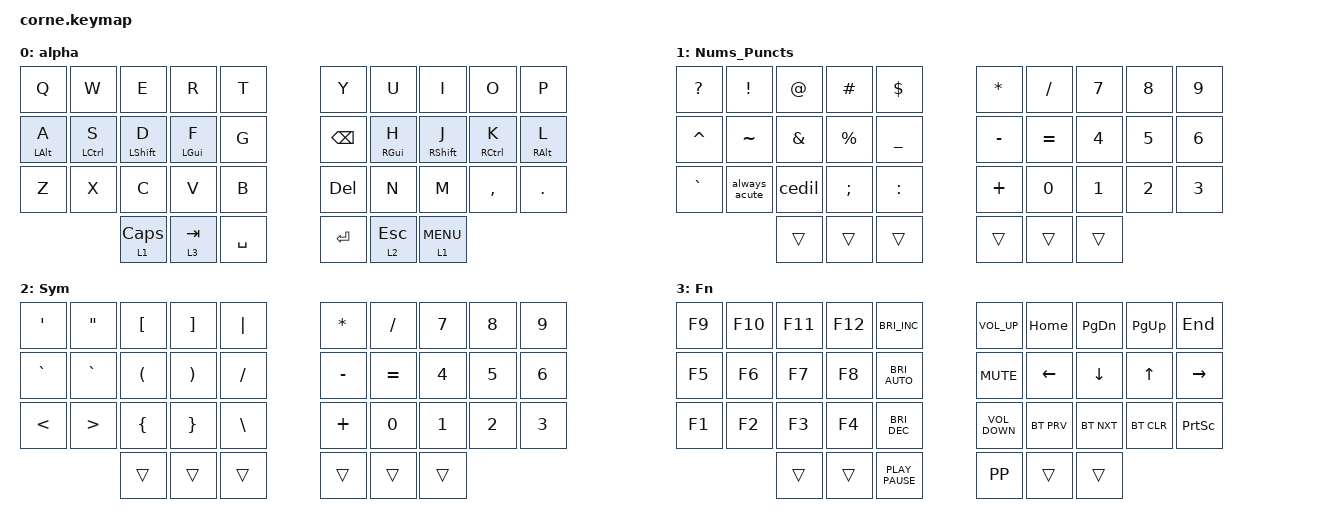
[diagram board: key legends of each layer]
/*
 * Copyright (c) 2020 The ZMK Contributors
 *
 * SPDX-License-Identifier: MIT
 */

#include <behaviors.dtsi>
#include <dt-bindings/zmk/bt.h>
#include <dt-bindings/zmk/keys.h>

#define DEFAULT_L 0

&lt {
    quick-tap-ms = <200>;
    tapping-term-ms = <200>;
};

/ {
    chosen { zmk,matrix_transform = &five_column_transform; };

    behaviors {
        hm: homerow_mods {
            compatible = "zmk,behavior-hold-tap";
            label = "HOMEROW_MODS";
            #binding-cells = <2>;
            tapping-term-ms = <150>;
            flavor = "tap-preferred";
            bindings = <&kp>, <&kp>;

            quick-tap-ms = <200>;
        };

        vim_i: vim_i {
            compatible = "zmk,behavior-mod-morph";
            label = "VIM_I";
            bindings = <&to 0>, <&vim_I>;

            #binding-cells = <0>;
            mods = <(MOD_LSFT|MOD_RSFT)>;
        };

        vim_o: vim_o {
            compatible = "zmk,behavior-mod-morph";
            label = "VIM_O";
            bindings = <&next_line_enter>, <&previous_line_enter>;

            #binding-cells = <0>;
            mods = <(MOD_LSFT|MOD_RSFT)>;
        };

        vim_c_r: vim_c_r {
            compatible = "zmk,behavior-mod-morph";
            label = "VIM_C_R";
            #binding-cells = <0>;
            bindings = <&none>, <&kp LG(LS(Z))>;

            mods = <(MOD_LCTL|MOD_RCTL)>;
        };

        vim_backspace: vim_backspace {
            compatible = "zmk,behavior-mod-morph";
            label = "VIM_BACKSPACE";
            bindings = <&kp LA(BACKSPACE)>, <&kp LA(DELETE)>;

            #binding-cells = <0>;
            mods = <(MOD_LALT|MOD_RALT)>;
        };

        slashandbackslash: slashandbackslash {
            compatible = "zmk,behavior-mod-morph";
            label = "SLASHANDBACKSLASH";
            bindings = <&kp SLASH>, <&kp BACKSLASH>;

            #binding-cells = <0>;
            mods = <(MOD_LALT|MOD_RALT)>;
        };

        quote: quote {
            compatible = "zmk,behavior-mod-morph";
            label = "QUOTE";
            bindings = <&kp SINGLE_QUOTE>, <&kp GRAVE>;

            #binding-cells = <0>;
            mods = <(MOD_LALT|MOD_RALT)>;
        };

        coma_semi: coma_semi {
            compatible = "zmk,behavior-mod-morph";
            label = "COMA_SEMI";
            bindings = <&kp COMMA>, <&kp SEMI>;

            #binding-cells = <0>;
            mods = <(MOD_LALT|MOD_RALT)>;
            keep-mods = <(MOD_LSFT|MOD_RSFT)>;
        };

        dot_colon: dot_colon {
            compatible = "zmk,behavior-mod-morph";
            label = "DOT_COLON";
            bindings = <&kp PERIOD>, <&kp COLON>, <&kp LA(COLON)>;

            #binding-cells = <0>;
            mods = <(MOD_LALT|MOD_RALT)>;
            keep-mods = <(MOD_LSFT|MOD_RSFT)>;
        };

        q_grave: q_grave {
            compatible = "zmk,behavior-mod-morph";
            label = "Q_GRAVE";
            bindings = <&kp Q>, <&kp GRAVE>;

            #binding-cells = <0>;
            mods = <(MOD_LALT|MOD_RALT)>;
        };

        home: home {
            compatible = "zmk,behavior-mod-morph";
            label = "HOME";
            bindings = <&kp LG(LEFT)>, <&kp HOME>;

            #binding-cells = <0>;
            mods = <(MOD_LSFT|MOD_RSFT)>;
        };

        end: end {
            compatible = "zmk,behavior-mod-morph";
            label = "END";
            bindings = <&kp LG(RIGHT)>, <&kp END>;

            #binding-cells = <0>;
            mods = <(MOD_LSFT|MOD_RALT)>;
        };

        quote_grave: quote_grave {
            compatible = "zmk,behavior-mod-morph";
            label = "QUOTE_GRAVE";
            bindings = <&kp SINGLE_QUOTE>, <&kp GRAVE>;

            #binding-cells = <0>;
            mods = <(MOD_LALT|MOD_RALT)>;
        };

        hm_quotes: hm_quotes {
            compatible = "zmk,behavior-hold-tap";
            label = "HM_QUOTES";
            bindings = <&kp>, <&quote_grave>;

            #binding-cells = <2>;
            tapping-term-ms = <200>;
            quick-tap-ms = <200>;
            flavor = "tap-preferred";
        };

        dot_comma: dot_comma {
            compatible = "zmk,behavior-mod-morph";
            label = "DOT_COMMA";
            bindings = <&kp DOT>, <&kp COMMA>;

            #binding-cells = <0>;
            mods = <(MOD_LSFT|MOD_RSFT)>;
        };

        multiply: multiply {
            compatible = "zmk,behavior-mod-morph";
            label = "MULTIPLY";
            bindings = <&kp ASTERISK>, <&kp LEFT_BRACE>;

            #binding-cells = <0>;
            mods = <(MOD_LSFT|MOD_RSFT)>;
        };

        divide: divide {
            compatible = "zmk,behavior-mod-morph";
            label = "divide";
            bindings = <&kp SLASH>, <&kp LEFT_PARENTHESIS>;

            #binding-cells = <0>;
            mods = <(MOD_LSFT|MOD_RSFT)>;
        };

        num_7: num_7 {
            compatible = "zmk,behavior-mod-morph";
            label = "num_7";
            bindings = <&kp N7>, <&kp RIGHT_BRACE>;

            #binding-cells = <0>;
            mods = <(MOD_LSFT|MOD_RSFT)>;
        };

        equals_thic_arrow: equals_thic_arrow {
            compatible = "zmk,behavior-mod-morph";
            label = "EQUALS_THIC_ARROW";
            bindings = <&kp EQUAL>, <&thic_arrow>;

            #binding-cells = <0>;
            mods = <(MOD_LSFT|MOD_RSFT)>;
        };

        num_0: num_0 {
            compatible = "zmk,behavior-mod-morph";
            label = "NUM_0";
            #binding-cells = <0>;
            mods = <(MOD_LSFT|MOD_RSFT)>;
            bindings = <&kp N0>, <&kp LEFT_BRACKET>;
        };

        num_1: num_1 {
            compatible = "zmk,behavior-mod-morph";
            label = "NUM_1";
            #binding-cells = <0>;
            mods = <(MOD_LSFT|MOD_RSFT)>;
            bindings = <&kp N1>, <&kp RIGHT_BRACKET>;
        };

        num_2: num_2 {
            compatible = "zmk,behavior-mod-morph";
            label = "NUM_2";
            #binding-cells = <0>;
            mods = <(MOD_LSFT|MOD_RSFT)>;
            bindings = <&kp N2>, <&kp COMMA>;
        };

        num_3: num_3 {
            compatible = "zmk,behavior-mod-morph";
            label = "NUM_3";
            #binding-cells = <0>;
            mods = <(MOD_LSFT|MOD_RSFT)>;
            bindings = <&kp N3>, <&kp DOT>;
        };

        num_5: num_5 {
            compatible = "zmk,behavior-mod-morph";
            label = "NUM_5";
            #binding-cells = <0>;
            mods = <(MOD_LSFT)>;
            bindings = <&hm RIGHT_GUI N5>, <&kp LT>;
        };

        num_6: num_6 {
            compatible = "zmk,behavior-mod-morph";
            label = "NUM_6";
            #binding-cells = <0>;
            mods = <(MOD_LSFT)>;
            bindings = <&hm RIGHT_ALT NUMBER_6>, <&kp GT>;
        };

        hm_quote_minus: hm_quote_minus {
            compatible = "zmk,behavior-mod-morph";
            label = "HM_QUOTE_MINUS";
            #binding-cells = <0>;
            mods = <(MOD_LSFT)>;
            bindings = <&hm RCTRL MINUS>, <&kp DOUBLE_QUOTES>;
        };

        num_4: num_4 {
            compatible = "zmk,behavior-mod-morph";
            label = "NUM_4";
            bindings = <&hm RIGHT_SHIFT N4>, <&kp RIGHT_PARENTHESIS>;

            #binding-cells = <0>;
            mods = <(MOD_LSFT)>;
        };

        always_tilde: always_tilde {
            compatible = "zmk,behavior-mod-morph";
            label = "ALWAYS_TILDE";
            bindings = <&kp LA(N)>, <&kp LA(N)>;

            #binding-cells = <0>;
            mods = <(MOD_LSFT|MOD_RSFT)>;
        };

        num_8: num_8 {
            compatible = "zmk,behavior-mod-morph";
            label = "NUM_8";
            bindings = <&kp N8>, <&kp LA(LS(NUMBER_2))>;

            #binding-cells = <0>;
            mods = <(MOD_LSFT|MOD_RSFT)>;
        };

        w_euro: w_euro {
            compatible = "zmk,behavior-mod-morph";
            label = "W_EURO";
            bindings = <&kp W>, <&kp LS(LA(NUMBER_2))>;

            #binding-cells = <0>;
            mods = <(MOD_LALT|MOD_RALT)>;
        };

        a_grave_ctrl: a_grave_ctrl {
            compatible = "zmk,behavior-mod-morph";
            label = "A_GRAVE_CTRL";
            bindings = <&hm LCTRL A>, <&kp A>;

            #binding-cells = <0>;
            mods = <(MOD_LALT|MOD_RALT)>;
        };

        always_grave: always_grave {
            compatible = "zmk,behavior-mod-morph";
            label = "ALWAYS_GRAVE";
            bindings = <&kp GRAVE>, <&kp GRAVE>;

            #binding-cells = <0>;
            mods = <(MOD_LSFT|MOD_RSFT)>;
        };

        always_acute: always_acute {
            compatible = "zmk,behavior-mod-morph";
            label = "ALWAYS_ACUTE";
            bindings = <&kp LA(E)>, <&kp LA(E)>;

            #binding-cells = <0>;
            mods = <(MOD_LALT|MOD_LSFT|MOD_RSFT)>;
        };

        always_circ: always_circ {
            compatible = "zmk,behavior-mod-morph";
            label = "ALWAYS_CIRC";
            bindings = <&kp LA(I)>, <&kp LA(I)>;

            #binding-cells = <0>;
            mods = <(MOD_LSFT|MOD_RSFT)>;
        };

        cmd_num_4: cmd_num_4 {
            compatible = "zmk,behavior-mod-morph";
            label = "CMD_NUM_4";
            bindings = <&num_4>, <&kp NUMBER_4>;

            #binding-cells = <0>;
            mods = <(MOD_LGUI|MOD_RGUI)>;
            keep-mods = <(MOD_RGUI|MOD_LGUI)>;
        };

        cmd_num_5: cmd_num_5 {
            compatible = "zmk,behavior-mod-morph";
            label = "CMD_NUM_5";
            bindings = <&num_5>, <&kp N5>;

            #binding-cells = <0>;
            mods = <(MOD_LGUI|MOD_RGUI)>;
            keep-mods = <(MOD_RGUI|MOD_LGUI)>;
        };

        cmd_num_1: cmd_num_1 {
            compatible = "zmk,behavior-mod-morph";
            label = "CMD_NUM_1";
            bindings = <&num_1>, <&kp NUMBER_1>;

            #binding-cells = <0>;
            mods = <(MOD_LGUI|MOD_RGUI)>;
            keep-mods = <(MOD_RGUI|MOD_LGUI)>;
        };

        cmd_num_3: cmd_num_3 {
            compatible = "zmk,behavior-mod-morph";
            label = "CMD_NUM_3";
            bindings = <&num_3>, <&kp NUMBER_3>;

            #binding-cells = <0>;
            mods = <(MOD_LGUI|MOD_RGUI)>;
            keep-mods = <(MOD_RGUI|MOD_LGUI)>;
        };

        cmd_num_2: cmd_num_2 {
            compatible = "zmk,behavior-mod-morph";
            label = "CMD_NUM_2";
            bindings = <&num_2>, <&kp NUMBER_2>;

            #binding-cells = <0>;
            mods = <(MOD_LGUI|MOD_RGUI)>;
            keep-mods = <(MOD_RGUI|MOD_LGUI)>;
        };

        cmd_num_6: cmd_num_6 {
            compatible = "zmk,behavior-mod-morph";
            label = "CMD_NUM_6";
            bindings = <&num_6>, <&kp NUMBER_6>;

            #binding-cells = <0>;
            mods = <(MOD_LGUI|MOD_RGUI)>;
            keep-mods = <(MOD_RGUI|MOD_LGUI)>;
        };

        cmd_num_7: cmd_num_7 {
            compatible = "zmk,behavior-mod-morph";
            label = "CMD_NUM_7";
            bindings = <&num_7>, <&kp N7>;

            #binding-cells = <0>;
            mods = <(MOD_LGUI|MOD_RGUI)>;
            keep-mods = <(MOD_RGUI|MOD_LGUI)>;
        };

        cmd_num_8: cmd_num_8 {
            compatible = "zmk,behavior-mod-morph";
            label = "CMD_NUM_8";
            bindings = <&num_8>, <&kp N8>;

            #binding-cells = <0>;
            mods = <(MOD_LGUI|MOD_RGUI)>;
            keep-mods = <(MOD_RGUI|MOD_LGUI)>;
        };

        cmd_w_euro: cmd_w_euro {
            compatible = "zmk,behavior-mod-morph";
            label = "CMD_W_EURO";
            bindings = <&w_euro>, <&kp W>;

            #binding-cells = <0>;
            mods = <(MOD_LGUI|MOD_RGUI|MOD_LCTL|MOD_LSFT|MOD_RCTL|MOD_RSFT)>;
            keep-mods = <(MOD_LCTL|MOD_LSFT|MOD_LALT|MOD_LGUI|MOD_RALT|MOD_RGUI|MOD_RSFT|MOD_RCTL)>;
        };

        shift_tap: shift_tap {
            compatible = "zmk,behavior-hold-tap";
            label = "SHIFT_TAP";
            bindings = <&kp>, <&kp>;

            #binding-cells = <2>;
            tapping-term-ms = <150>;
            flavor = "tap-preferred";
            quick-tap-ms = <200>;
        };

        plus_gte: plus_gte {
            compatible = "zmk,behavior-mod-morph";
            label = "PLUS_GTE";
            bindings = <&kp PLUS>, <&gte>;

            #binding-cells = <0>;
            mods = <(MOD_LSFT|MOD_RSFT)>;
        };

        minus_lte: minus_lte {
            compatible = "zmk,behavior-mod-morph";
            label = "MINUS_LTE";
            bindings = <&kp MINUS>, <&lte>;

            #binding-cells = <0>;
            mods = <(MOD_LSFT|MOD_RSFT)>;
        };

        p_question: p_question {
            compatible = "zmk,behavior-mod-morph";
            label = "P_QUESTION";
            bindings = <&kp P>, <&kp QUESTION>;

            #binding-cells = <0>;
            mods = <(MOD_LALT|MOD_RALT)>;
        };

        switch_layout: switch_layout {
            compatible = "zmk,behavior-tap-dance";
            label = "SWITCH_LAYOUT";
            #binding-cells = <0>;
            bindings = <&to 0>, <&to 0>;
        };
    };

    macros {
        aacute: aacute {
            compatible = "zmk,behavior-macro";
            label = "AACUTE";
            #binding-cells = <0>;
            bindings = <&always_acute &kp A>;
        };

        eacute: eacute {
            compatible = "zmk,behavior-macro";
            label = "EACUTE";
            #binding-cells = <0>;
            bindings = <&always_acute &kp E>;
        };

        iacute: iacute {
            compatible = "zmk,behavior-macro";
            label = "IACUTE";
            #binding-cells = <0>;
            bindings = <&always_acute &kp I>;
        };

        oacute: oacute {
            compatible = "zmk,behavior-macro";
            label = "OACUTE";
            #binding-cells = <0>;
            bindings = <&always_acute &kp O>;
        };

        uacute: uacute {
            compatible = "zmk,behavior-macro";
            label = "UACUTE";
            #binding-cells = <0>;
            bindings = <&always_acute &kp U>;
        };

        acirc: acirc {
            compatible = "zmk,behavior-macro";
            label = "ACIRC";
            #binding-cells = <0>;
            bindings = <&always_circ &kp A>;
        };

        ecirc: ecirc {
            compatible = "zmk,behavior-macro";
            label = "ECIRC";
            #binding-cells = <0>;
            bindings = <&always_circ &kp E>;
        };

        icirc: icirc {
            compatible = "zmk,behavior-macro";
            label = "ICIRC";
            #binding-cells = <0>;
            bindings = <&always_circ &kp I>;
        };

        ocirc: ocirc {
            compatible = "zmk,behavior-macro";
            label = "OCIRC";
            #binding-cells = <0>;
            bindings = <&always_circ &kp O>;
        };

        ucirc: ucirc {
            compatible = "zmk,behavior-macro";
            label = "UCIRC";
            #binding-cells = <0>;
            bindings = <&always_circ &kp U>;
        };

        atilde: atilde {
            compatible = "zmk,behavior-macro";
            label = "ATILDE";
            #binding-cells = <0>;
            bindings = <&always_tilde &kp A>;
        };

        otilde: otilde {
            compatible = "zmk,behavior-macro";
            label = "OTILDE";
            #binding-cells = <0>;
            bindings = <&always_tilde &kp O>;
        };

        ao: ao {
            compatible = "zmk,behavior-macro";
            label = "AO";
            #binding-cells = <0>;
            bindings = <&always_tilde &kp A &kp O>;
        };

        oes: oes {
            compatible = "zmk,behavior-macro";
            label = "OES";
            #binding-cells = <0>;
            bindings = <&always_tilde &kp O &kp E &kp S>;
        };

        vim_word: vim_word {
            compatible = "zmk,behavior-macro";
            label = "VIM_WORD";
            #binding-cells = <0>;
            bindings = <&kp LA(RIGHT) &kp LA(RIGHT) &kp LA(LEFT)>;
        };

        previous_line_enter: previous_line_enter {
            compatible = "zmk,behavior-macro";
            label = "PREVIOUS_LINE_ENTER";
            #binding-cells = <0>;
            bindings = <&kp LG(LEFT) &kp LS(ENTER) &kp LEFT>;
        };

        vim_I: vim_I {
            compatible = "zmk,behavior-macro";
            label = "VIM_I";
            #binding-cells = <0>;
            bindings = <&kp LG(LEFT_ARROW) &to 0>;
        };

        aes: aes {
            compatible = "zmk,behavior-macro";
            label = "AES";
            #binding-cells = <0>;
            bindings = <&always_tilde &kp A &kp E &kp S>;
        };

        esc_0: esc_0 {
            compatible = "zmk,behavior-macro";
            label = "ESC_0";
            #binding-cells = <0>;
            bindings = <&to 0 &kp ESCAPE>;
        };

        next_line_enter: next_line_enter {
            compatible = "zmk,behavior-macro";
            label = "NEXT_LINE_ENTER";
            #binding-cells = <0>;
            bindings = <&kp LG(RIGHT) &kp ENTER>;
        };

        thic_arrow: thic_arrow {
            compatible = "zmk,behavior-macro";
            #binding-cells = <0>;
            bindings = <&kp EQUAL &kp GT>;
            label = "THIC_ARROW";
        };

        thin_arrow: thin_arrow {
            compatible = "zmk,behavior-macro";
            #binding-cells = <0>;
            bindings = <&kp MINUS &kp GT>;
            label = "THIN_ARROW";
        };

        agrave: agrave {
            compatible = "zmk,behavior-macro";
            #binding-cells = <0>;
            bindings = <&always_grave &kp A>;
            label = "AGRAVE";
        };

        gte: gte {
            compatible = "zmk,behavior-macro";
            #binding-cells = <0>;
            bindings = <&kp GT &kp EQUAL>;
            label = "GTE";
        };

        lte: lte {
            compatible = "zmk,behavior-macro";
            #binding-cells = <0>;
            bindings = <&kp LT &kp EQUAL>;
            label = "LTE";
        };

        cedil: cedil {
            compatible = "zmk,behavior-macro";
            #binding-cells = <0>;
            bindings = <&always_acute &kp C>;
            label = "CEDIL";
        };
    };

    combos {
        compatible = "zmk,combos";

        RESET {
            bindings = <&esc_0>;
            key-positions = <12 17>;
        };

        toggle_shift {
            bindings = <&caps_word>;
            key-positions = <13 16>;
        };

        RESET_w {
            bindings = <&esc_0>;
            key-positions = <14 15>;
        };

        collon_l {
            bindings = <&kp COLON>;
            key-positions = <12 28>;
        };

        collon_r {
            bindings = <&kp COLON>;
            key-positions = <17 28>;
        };

        semicollon_l {
            bindings = <&kp SEMICOLON>;
            key-positions = <12 29>;
        };

        semicollon_r {
            bindings = <&kp SEMICOLON>;
            key-positions = <17 29>;
        };
    };

    keymap {
        compatible = "zmk,keymap";

        alpha {
            bindings = <
  &kp Q           &kp W               &kp E             &kp R           &kp T        &kp Y          &kp U            &kp I              &kp O                &kp P
  &mt LEFT_ALT A  &mt LEFT_CONTROL S  &mt LEFT_SHIFT D  &mt LEFT_GUI F  &kp G        &kp BACKSPACE  &mt RIGHT_GUI H  &mt RIGHT_SHIFT J  &mt RIGHT_CONTROL K  &mt RIGHT_ALT L
  &kp Z           &kp X               &kp C             &kp V           &kp B        &kp DELETE     &kp N            &kp M              &kp COMMA            &kp PERIOD
                                      &lt 1 CAPSLOCK    &lt 3 TAB       &kp SPACE    &kp ENTER      &lt 2 ESCAPE     &lt 1 C_MENU
            >;
        };

        Nums_Puncts {
            bindings = <
  &kp QUESTION  &kp EXCLAMATION  &kp AT_SIGN    &kp HASH       &kp DOLLAR        &kp ASTERISK  &kp SLASH     &kp NUMBER_7  &kp NUMBER_8  &kp NUMBER_9
  &kp CARET     &kp TILDE        &kp AMPERSAND  &kp PERCENT    &kp UNDERSCORE    &kp MINUS     &kp EQUAL     &kp NUMBER_4  &kp NUMBER_5  &kp NUMBER_6
  &kp GRAVE     &always_acute    &cedil         &kp SEMICOLON  &kp COLON         &kp PLUS      &kp NUMBER_0  &kp NUMBER_1  &kp NUMBER_2  &kp NUMBER_3
                                 &trans         &trans         &trans            &trans        &trans        &trans
            >;
        };

        Sym {
            bindings = <
  &kp SINGLE_QUOTE  &kp DOUBLE_QUOTES  &kp LEFT_BRACKET      &kp RIGHT_BRACKET      &kp PIPE         &kp ASTERISK  &kp SLASH     &kp NUMBER_7  &kp NUMBER_8  &kp NUMBER_9
  &kp GRAVE         &kp GRAVE          &kp LEFT_PARENTHESIS  &kp RIGHT_PARENTHESIS  &kp SLASH        &kp MINUS     &kp EQUAL     &kp NUMBER_4  &kp NUMBER_5  &kp NUMBER_6
  &kp LESS_THAN     &kp GREATER_THAN   &kp LEFT_BRACE        &kp RIGHT_BRACE        &kp BACKSLASH    &kp PLUS      &kp NUMBER_0  &kp NUMBER_1  &kp NUMBER_2  &kp NUMBER_3
                                       &trans                &trans                 &trans           &trans        &trans        &trans
            >;
        };

        Fn {
            bindings = <
  &kp F9  &kp F10  &kp F11  &kp F12  &kp C_BRIGHTNESS_INC     &kp K_VOLUME_UP    &kp HOME        &kp PAGE_DOWN   &kp PAGE_UP   &kp END
  &kp F5  &kp F6   &kp F7   &kp F8   &kp C_BRIGHTNESS_AUTO    &kp K_MUTE         &kp LEFT_ARROW  &kp DOWN_ARROW  &kp UP_ARROW  &kp RIGHT_ARROW
  &kp F1  &kp F2   &kp F3   &kp F4   &kp C_BRIGHTNESS_DEC     &kp K_VOLUME_DOWN  &bt BT_PRV      &bt BT_NXT      &bt BT_CLR    &kp PRINTSCREEN
                   &trans   &trans   &kp K_PLAY_PAUSE         &kp K_PP           &trans          &trans
            >;
        };
    };
};
